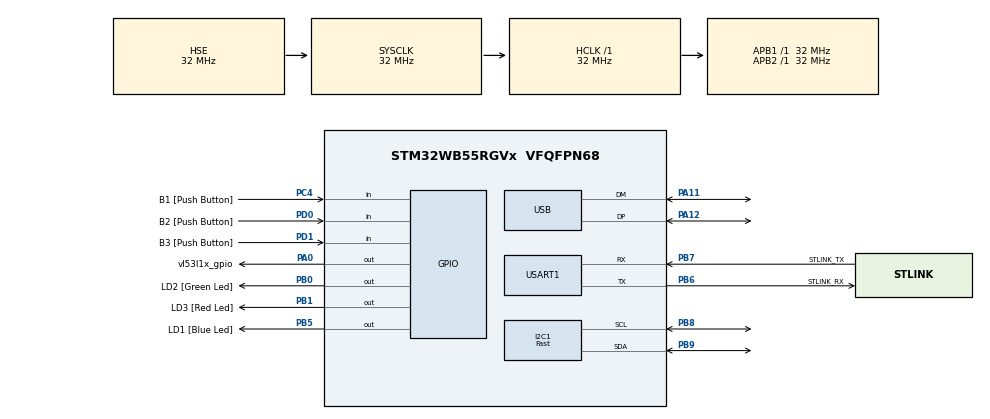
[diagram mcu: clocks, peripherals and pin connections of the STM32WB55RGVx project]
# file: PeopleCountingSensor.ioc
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I2C1.I2C_Speed_Mode=I2C_Fast
I2C1.Timing=0x00300F38
Mcu.Family=STM32WB
Mcu.Name=STM32WB55RGVx
Mcu.Package=VFQFPN68
NVIC.PriorityGroup=NVIC_PRIORITYGROUP_4
OSC_IN.Mode=HSE-External-Oscillator
OSC_IN.Signal=RCC_OSC_IN
OSC_OUT.Mode=HSE-External-Oscillator
OSC_OUT.Signal=RCC_OSC_OUT
PA0.GPIO_Label=vl53l1x_gpio
PA0.Signal=GPIO_Output
PA11.Mode=Device
PA11.Signal=USB_DM
PA12.Mode=Device
PA12.Signal=USB_DP
PA13.GPIO_Label=JTMS
PA13.Mode=Trace_Asynchronous_SW
PA13.Signal=SYS_JTMS-SWDIO
PA14.GPIO_Label=JTCK
PA14.Mode=Trace_Asynchronous_SW
PA14.Signal=SYS_JTCK-SWCLK
PB0.GPIO_Label=LD2 [Green Led]
PB0.Signal=GPIO_Output
PB1.GPIO_Label=LD3 [Red Led]
PB1.Signal=GPIO_Output
PB3.GPIO_Label=JTDO
PB3.Mode=Trace_Asynchronous_SW
PB3.Signal=SYS_JTDO-SWO
PB5.GPIO_Label=LD1 [Blue Led]
PB5.Signal=GPIO_Output
PB6.GPIO_Label=STLINK_RX
PB6.GPIO_PuPd=GPIO_PULLUP
PB6.Mode=Asynchronous
PB6.Signal=USART1_TX
PB7.GPIO_Label=STLINK_TX
PB7.GPIO_PuPd=GPIO_PULLUP
PB7.Mode=Asynchronous
PB7.Signal=USART1_RX
PB8.Mode=I2C
PB8.Signal=I2C1_SCL
PB9.Mode=I2C
PB9.Signal=I2C1_SDA
PC13.Mode=SYS_WakeUp1
PC13.Signal=SYS_WKUP2
PC14-OSC32_IN.Mode=LSE-External-Oscillator
PC14-OSC32_IN.Signal=RCC_OSC32_IN
PC15-OSC32_OUT.Mode=LSE-External-Oscillator
PC15-OSC32_OUT.Signal=RCC_OSC32_OUT
PC4.GPIO_Label=B1 [Push Button]
PC4.Signal=GPIO_Input
PD0.GPIO_Label=B2 [Push Button]
PD0.Signal=GPIO_Input
PD1.GPIO_Label=B3 [Push Button]
PD1.Signal=GPIO_Input
ProjectManager.HeapSize=0x200
ProjectManager.StackSize=0x400
ProjectManager.TargetToolchain=STM32CubeIDE
RCC.ADCFreq_Value=48000000
RCC.AHBFreq_Value=32000000
RCC.APB1Freq_Value=32000000
RCC.APB1TimFreq_Value=32000000
RCC.APB2Freq_Value=32000000
RCC.APB2TimFreq_Value=32000000
RCC.APB3Freq_Value=16000000
RCC.CortexFreq_Value=32000000
RCC.HCLKFreq_Value=32000000
RCC.HSE_VALUE=32000000
RCC.HSI48_VALUE=48000000
RCC.HSI_VALUE=16000000
RCC.PLLN=32
RCC.PLLSAI1N=24
RCC.SMPSCLockSelectionVirtual=RCC_SMPSCLKSOURCE_HSI
RCC.SMPSCLockSelectionVirtualVirtual=RCC_SMPSCLKSOURCE_HSI
RCC.SMPSDivider=1
RCC.SYSCLKFreq_VALUE=32000000
RCC.SYSCLKSource=RCC_SYSCLKSOURCE_HSE
RCC.USBFreq_Value=48000000
RCC.VCOOutputFreq_Value=128000000
USART1.VirtualMode-Asynchronous=VM_ASYNC
USART1.WordLength=WORDLENGTH_7B
board=P-NUCLEO-WB55-Nucleo

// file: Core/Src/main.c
/* USER CODE BEGIN Header */
/**
  ******************************************************************************
  * @file           : main.c
  * @brief          : Main program body
  ******************************************************************************
  * @attention
  *
  * <h2><center>&copy; Copyright (c) 2021 STMicroelectronics.
  * All rights reserved.</center></h2>
  *
  * This software component is licensed by ST under BSD 3-Clause license,
  * the "License"; You may not use this file except in compliance with the
  * License. You may obtain a copy of the License at:
  *                        opensource.org/licenses/BSD-3-Clause
  *
  ******************************************************************************
  */
/* USER CODE END Header */
#include "main.h"

/* USER CODE BEGIN Includes */
#include "vl53l1_platform.h"
#include "vl53l1_api.h"
/* USER CODE END Includes */

I2C_HandleTypeDef hi2c1;

UART_HandleTypeDef huart1;

PCD_HandleTypeDef hpcd_USB_FS;

/* USER CODE BEGIN PV */
VL53L1_Dev_t      dev;
VL53L1_DEV        Dev = &dev;
VL53L1_CalibrationData_t Calibration_Data;
int status=0;
/* USER CODE END PV */

void SystemClock_Config(void);
static void MX_GPIO_Init(void);
static void MX_USART1_UART_Init(void);
static void MX_USB_PCD_Init(void);
static void MX_I2C1_Init(void);

/* USER CODE BEGIN 0 */

// IIC Write Command**********************************************/
void Write_IIC_Command(unsigned char IIC_Command)
{
	HAL_I2C_Mem_Write(&hi2c1 ,0x78,0x00,I2C_MEMADD_SIZE_8BIT,&IIC_Command,1,0x100);
}

// IIC Write Data*************************************************/
void Write_IIC_Data(unsigned char IIC_Data)
{
	HAL_I2C_Mem_Write(&hi2c1 ,0x78,0x40,I2C_MEMADD_SIZE_8BIT,&IIC_Data,1,0x100);
}

// using printf with uart
int __io_putchar(int ch)
{
     HAL_UART_Transmit(&huart1, (uint8_t*) &ch, 1, 0xFFFF);
     return ch;
}

/* USER CODE END 0 */

int main(void)
{
  /* USER CODE BEGIN 1 */
  static VL53L1_RangingMeasurementData_t RangingData;
  VL53L1_UserRoi_t roiConfig;
  uint8_t byteData;
  int16_t distance = 0;
  int16_t previousData = 0;
  int8_t peopleCnt = 0;
  int distCompare = 0;

  uint16_t print_count = 0;
  /* USER CODE END 1 */

  /* MCU Configuration--------------------------------------------------------*/

  /* Reset of all peripherals, Initializes the Flash interface and the Systick. */
  HAL_Init();

  /* Configure the system clock */
  SystemClock_Config();

  /* Initialize all configured peripherals */
  MX_GPIO_Init();
  MX_USART1_UART_Init();
  MX_USB_PCD_Init();
  MX_I2C1_Init();
  /* USER CODE BEGIN 2 */

	Dev->I2cHandle = &hi2c1;
	Dev->I2cDevAddr = 0x52;
	Dev->comms_type = 1;
	Dev->comms_speed_khz = 400;

	status = VL53L1_RdByte(Dev, 0x010F, &byteData);
	printf("VL53L1X Model_ID: %x\r\n", byteData);
	HAL_Delay(500);
	status = VL53L1_RdByte(Dev, 0x0110, &byteData);
	printf("VL53L1X Module_Type: %x\r\n", byteData);
	HAL_Delay(500);

	printf("Autonomous Ranging Test\r\n");
	HAL_Delay(500);
	status = VL53L1_WaitDeviceBooted(Dev);
	status = VL53L1_DataInit(Dev);
	status = VL53L1_StaticInit(Dev);
	roiConfig.TopLeftX = 0;
	roiConfig.TopLeftY = 15;
	roiConfig.BotRightX = 15;
	roiConfig.BotRightY = 0;
	status = VL53L1_SetUserROI(Dev,&roiConfig);

	status = VL53L1_GetCalibrationData(Dev, &Calibration_Data);
	Calibration_Data.customer.algo__crosstalk_compensation_plane_offset_kcps = 2000;
	Calibration_Data.customer.algo__part_to_part_range_offset_mm = 156;
	Calibration_Data.customer.global_config__spad_enables_ref_0 = 255;
	Calibration_Data.customer.global_config__spad_enables_ref_1 = 255;
	Calibration_Data.customer.global_config__spad_enables_ref_2 = 255;
	Calibration_Data.customer.global_config__spad_enables_ref_3 = 255;
	Calibration_Data.customer.global_config__spad_enables_ref_4 = 255;
	Calibration_Data.customer.global_config__spad_enables_ref_5 = 255;
	Calibration_Data.customer.ref_spad_man__num_requested_ref_spads = 8;
	Calibration_Data.customer.ref_spad_man__ref_location = 1;
	status = VL53L1_SetCalibrationData(Dev, &Calibration_Data);

	status = VL53L1_SetDistanceMode(Dev, VL53L1_DISTANCEMODE_LONG);
	status = VL53L1_SetMeasurementTimingBudgetMicroSeconds(Dev, 50000);
	status = VL53L1_SetInterMeasurementPeriodMilliSeconds(Dev, 10);
	status = VL53L1_StartMeasurement(Dev);

	if(status){
		printf("VL53L1_StartMeasurement failed \n");
		while(1);
	}

  /* USER CODE END 2 */

  /* Infinite loop */
  /* USER CODE BEGIN WHILE */
  while (1){
	  status = VL53L1_WaitMeasurementDataReady(Dev);
	 			if(!status)
	 			{
	 				status = VL53L1_GetRangingMeasurementData(Dev, &RangingData);
	 				if(status==0){
	 					//SerialPlotFramePlotWord(RangingData.RangeMilliMeter,RangingData.RangeMilliMeter);
	 					distance = distance * 0.8f + RangingData.RangeMilliMeter * 0.2f;

	 					if(print_count++ >= 10)
	 					{
	 						print_count = 0;
	 //						printf("distance : %d.%d cm\r\n",(distance/10)+2, distance%10);
	 //						SerialPlotFramePlotWord(distance,distance);
	 					}

	 					if(distCompare > 8 && RangingData.RangeMilliMeter>previousData)
	 					{
	 						peopleCnt++;
	 						printf("people : %d distCompare : %d\r\n",peopleCnt, distCompare);
	 						distCompare = 0;
	 					}
	 					else if(distCompare < -8& RangingData.RangeMilliMeter<previousData)
	 					{
	 						peopleCnt--;
	 						printf("people : %d distCompare : %d\r\n",peopleCnt, distCompare);
	 						distCompare = 0;
	 					}
	 					else
	 					{
	 						if(RangingData.RangeMilliMeter<previousData && distCompare>=0){
	 							distCompare++;
	 						}
	 						else if(RangingData.RangeMilliMeter>previousData && distCompare<=0){
	 							distCompare--;
	 						}
	 						else
	 							distCompare = 0;
	 					}

	 					previousData = RangingData.RangeMilliMeter;

	 					//printf("distance : %d.%d cm rangedata : %d\r\n",(distance/10)+2, distance%10,RangingData.RangeMilliMeter);

	 				}
	 				status = VL53L1_ClearInterruptAndStartMeasurement(Dev);
	 			}

    /* USER CODE END WHILE */

  }
}

void SystemClock_Config(void)
{
  RCC_OscInitTypeDef RCC_OscInitStruct = {0};
  RCC_ClkInitTypeDef RCC_ClkInitStruct = {0};
  RCC_PeriphCLKInitTypeDef PeriphClkInitStruct = {0};

  /** Macro to configure the PLL multiplication factor
  */
  __HAL_RCC_PLL_PLLM_CONFIG(RCC_PLLM_DIV1);
  /** Macro to configure the PLL clock source
  */
  __HAL_RCC_PLL_PLLSOURCE_CONFIG(RCC_PLLSOURCE_MSI);
  /** Configure LSE Drive Capability
  */
  HAL_PWR_EnableBkUpAccess();
  __HAL_RCC_LSEDRIVE_CONFIG(RCC_LSEDRIVE_LOW);
  /** Configure the main internal regulator output voltage
  */
  __HAL_PWR_VOLTAGESCALING_CONFIG(PWR_REGULATOR_VOLTAGE_SCALE1);
  /** Initializes the RCC Oscillators according to the specified parameters
  * in the RCC_OscInitTypeDef structure.
  */
  RCC_OscInitStruct.OscillatorType = RCC_OSCILLATORTYPE_HSI|RCC_OSCILLATORTYPE_HSE
                              |RCC_OSCILLATORTYPE_LSE|RCC_OSCILLATORTYPE_MSI;
  RCC_OscInitStruct.HSEState = RCC_HSE_ON;
  RCC_OscInitStruct.LSEState = RCC_LSE_ON;
  RCC_OscInitStruct.HSIState = RCC_HSI_ON;
  RCC_OscInitStruct.MSIState = RCC_MSI_ON;
  RCC_OscInitStruct.HSICalibrationValue = RCC_HSICALIBRATION_DEFAULT;
  RCC_OscInitStruct.MSICalibrationValue = RCC_MSICALIBRATION_DEFAULT;
  RCC_OscInitStruct.MSIClockRange = RCC_MSIRANGE_6;
  RCC_OscInitStruct.PLL.PLLState = RCC_PLL_NONE;
  if (HAL_RCC_OscConfig(&RCC_OscInitStruct) != HAL_OK)
  {
    Error_Handler();
  }
  /** Configure the SYSCLKSource, HCLK, PCLK1 and PCLK2 clocks dividers
  */
  RCC_ClkInitStruct.ClockType = RCC_CLOCKTYPE_HCLK4|RCC_CLOCKTYPE_HCLK2
                              |RCC_CLOCKTYPE_HCLK|RCC_CLOCKTYPE_SYSCLK
                              |RCC_CLOCKTYPE_PCLK1|RCC_CLOCKTYPE_PCLK2;
  RCC_ClkInitStruct.SYSCLKSource = RCC_SYSCLKSOURCE_HSE;
  RCC_ClkInitStruct.AHBCLKDivider = RCC_SYSCLK_DIV1;
  RCC_ClkInitStruct.APB1CLKDivider = RCC_HCLK_DIV1;
  RCC_ClkInitStruct.APB2CLKDivider = RCC_HCLK_DIV1;
  RCC_ClkInitStruct.AHBCLK2Divider = RCC_SYSCLK_DIV1;
  RCC_ClkInitStruct.AHBCLK4Divider = RCC_SYSCLK_DIV1;

  if (HAL_RCC_ClockConfig(&RCC_ClkInitStruct, FLASH_LATENCY_1) != HAL_OK)
  {
    Error_Handler();
  }
  /** Initializes the peripherals clocks
  */
  PeriphClkInitStruct.PeriphClockSelection = RCC_PERIPHCLK_SMPS|RCC_PERIPHCLK_USART1
                              |RCC_PERIPHCLK_I2C1|RCC_PERIPHCLK_USB;
  PeriphClkInitStruct.PLLSAI1.PLLN = 24;
  PeriphClkInitStruct.PLLSAI1.PLLP = RCC_PLLP_DIV2;
  PeriphClkInitStruct.PLLSAI1.PLLQ = RCC_PLLQ_DIV2;
  PeriphClkInitStruct.PLLSAI1.PLLR = RCC_PLLR_DIV2;
  PeriphClkInitStruct.PLLSAI1.PLLSAI1ClockOut = RCC_PLLSAI1_USBCLK;
  PeriphClkInitStruct.Usart1ClockSelection = RCC_USART1CLKSOURCE_PCLK2;
  PeriphClkInitStruct.I2c1ClockSelection = RCC_I2C1CLKSOURCE_PCLK1;
  PeriphClkInitStruct.UsbClockSelection = RCC_USBCLKSOURCE_PLLSAI1;
  PeriphClkInitStruct.SmpsClockSelection = RCC_SMPSCLKSOURCE_HSI;
  PeriphClkInitStruct.SmpsDivSelection = RCC_SMPSCLKDIV_RANGE0;
  if (HAL_RCCEx_PeriphCLKConfig(&PeriphClkInitStruct) != HAL_OK)
  {
    Error_Handler();
  }
  /** Enable MSI Auto calibration
  */
  HAL_RCCEx_EnableMSIPLLMode();
}

static void MX_I2C1_Init(void)
{

  hi2c1.Instance = I2C1;
  hi2c1.Init.Timing = 0x00300F38;
  hi2c1.Init.OwnAddress1 = 0;
  hi2c1.Init.AddressingMode = I2C_ADDRESSINGMODE_7BIT;
  hi2c1.Init.DualAddressMode = I2C_DUALADDRESS_DISABLE;
  hi2c1.Init.OwnAddress2 = 0;
  hi2c1.Init.OwnAddress2Masks = I2C_OA2_NOMASK;
  hi2c1.Init.GeneralCallMode = I2C_GENERALCALL_DISABLE;
  hi2c1.Init.NoStretchMode = I2C_NOSTRETCH_DISABLE;
  if (HAL_I2C_Init(&hi2c1) != HAL_OK)
  {
    Error_Handler();
  }
  /** Configure Analogue filter
  */
  if (HAL_I2CEx_ConfigAnalogFilter(&hi2c1, I2C_ANALOGFILTER_ENABLE) != HAL_OK)
  {
    Error_Handler();
  }
  /** Configure Digital filter
  */
  if (HAL_I2CEx_ConfigDigitalFilter(&hi2c1, 0) != HAL_OK)
  {
    Error_Handler();
  }

}

static void MX_USART1_UART_Init(void)
{

  huart1.Instance = USART1;
  huart1.Init.BaudRate = 115200;
  huart1.Init.WordLength = UART_WORDLENGTH_7B;
  huart1.Init.StopBits = UART_STOPBITS_1;
  huart1.Init.Parity = UART_PARITY_NONE;
  huart1.Init.Mode = UART_MODE_TX_RX;
  huart1.Init.HwFlowCtl = UART_HWCONTROL_NONE;
  huart1.Init.OverSampling = UART_OVERSAMPLING_16;
  huart1.Init.OneBitSampling = UART_ONE_BIT_SAMPLE_DISABLE;
  huart1.Init.ClockPrescaler = UART_PRESCALER_DIV1;
  huart1.AdvancedInit.AdvFeatureInit = UART_ADVFEATURE_NO_INIT;
  if (HAL_UART_Init(&huart1) != HAL_OK)
  {
    Error_Handler();
  }
  if (HAL_UARTEx_SetTxFifoThreshold(&huart1, UART_TXFIFO_THRESHOLD_1_8) != HAL_OK)
  {
    Error_Handler();
  }
  if (HAL_UARTEx_SetRxFifoThreshold(&huart1, UART_RXFIFO_THRESHOLD_1_8) != HAL_OK)
  {
    Error_Handler();
  }
  if (HAL_UARTEx_DisableFifoMode(&huart1) != HAL_OK)
  {
    Error_Handler();
  }

}

static void MX_USB_PCD_Init(void)
{

  hpcd_USB_FS.Instance = USB;
  hpcd_USB_FS.Init.dev_endpoints = 8;
  hpcd_USB_FS.Init.speed = PCD_SPEED_FULL;
  hpcd_USB_FS.Init.phy_itface = PCD_PHY_EMBEDDED;
  hpcd_USB_FS.Init.Sof_enable = DISABLE;
  hpcd_USB_FS.Init.low_power_enable = DISABLE;
  hpcd_USB_FS.Init.lpm_enable = DISABLE;
  hpcd_USB_FS.Init.battery_charging_enable = DISABLE;
  if (HAL_PCD_Init(&hpcd_USB_FS) != HAL_OK)
  {
    Error_Handler();
  }

}

static void MX_GPIO_Init(void)
{
  GPIO_InitTypeDef GPIO_InitStruct = {0};

  /* GPIO Ports Clock Enable */
  __HAL_RCC_GPIOC_CLK_ENABLE();
  __HAL_RCC_GPIOB_CLK_ENABLE();
  __HAL_RCC_GPIOA_CLK_ENABLE();
  __HAL_RCC_GPIOD_CLK_ENABLE();

  /*Configure GPIO pin Output Level */
  HAL_GPIO_WritePin(vl53l1x_gpio_GPIO_Port, vl53l1x_gpio_Pin, GPIO_PIN_RESET);

  /*Configure GPIO pin Output Level */
  HAL_GPIO_WritePin(GPIOB, LD2_Pin|LD3_Pin|LD1_Pin, GPIO_PIN_RESET);

  /*Configure GPIO pin : vl53l1x_gpio_Pin */
  GPIO_InitStruct.Pin = vl53l1x_gpio_Pin;
  GPIO_InitStruct.Mode = GPIO_MODE_OUTPUT_PP;
  GPIO_InitStruct.Pull = GPIO_NOPULL;
  GPIO_InitStruct.Speed = GPIO_SPEED_FREQ_LOW;
  HAL_GPIO_Init(vl53l1x_gpio_GPIO_Port, &GPIO_InitStruct);

  /*Configure GPIO pin : B1_Pin */
  GPIO_InitStruct.Pin = B1_Pin;
  GPIO_InitStruct.Mode = GPIO_MODE_INPUT;
  GPIO_InitStruct.Pull = GPIO_NOPULL;
  HAL_GPIO_Init(B1_GPIO_Port, &GPIO_InitStruct);

  /*Configure GPIO pins : LD2_Pin LD3_Pin LD1_Pin */
  GPIO_InitStruct.Pin = LD2_Pin|LD3_Pin|LD1_Pin;
  GPIO_InitStruct.Mode = GPIO_MODE_OUTPUT_PP;
  GPIO_InitStruct.Pull = GPIO_NOPULL;
  GPIO_InitStruct.Speed = GPIO_SPEED_FREQ_LOW;
  HAL_GPIO_Init(GPIOB, &GPIO_InitStruct);

  /*Configure GPIO pins : B2_Pin B3_Pin */
  GPIO_InitStruct.Pin = B2_Pin|B3_Pin;
  GPIO_InitStruct.Mode = GPIO_MODE_INPUT;
  GPIO_InitStruct.Pull = GPIO_NOPULL;
  HAL_GPIO_Init(GPIOD, &GPIO_InitStruct);

}

void Error_Handler(void)
{
  __disable_irq();
  while (1)
  {
  }
}

/************************ (C) COPYRIGHT STMicroelectronics *****END OF FILE****/
